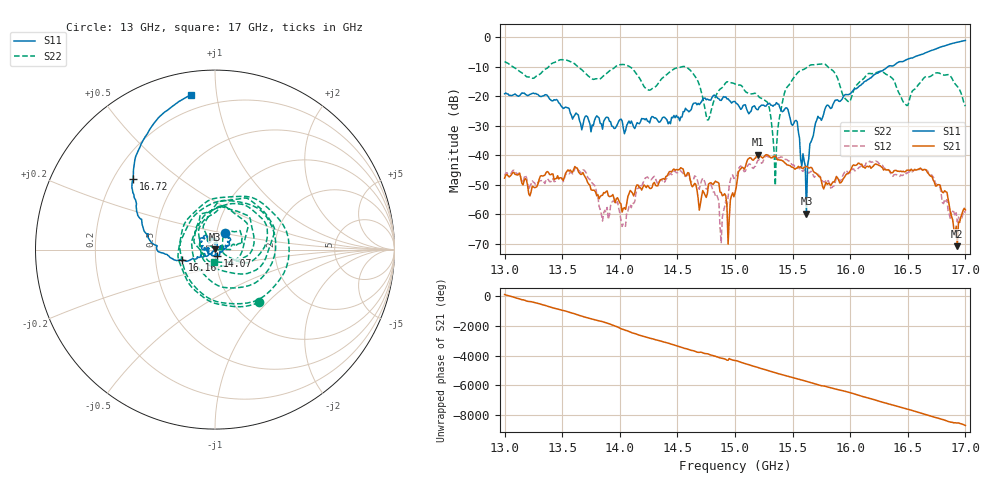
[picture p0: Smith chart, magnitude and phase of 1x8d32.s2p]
!Keysight Technologies,P9374A,MY57211807,A.19.30.04
!Date: Friday, May 08, 2026 15:19:32
!Correction: S11(C  2-Port  )
!S21(C  2-Port  )
!S12(C  2-Port  )
!S22(C  2-Port  )
!S2P File: Measurements: S11, S21, S12, S22:
# Hz S  dB  R 50
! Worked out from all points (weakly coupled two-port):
!   401 points, 13 GHz to 17 GHz, reference 50 ohm
!   highest |S21| = -39.77 dB at 15.2 GHz (marker M1); lowest = -70.7 dB at 16.93 GHz (marker M2)
!   lowest |S11| = -59.8 dB at 15.62 GHz (marker M3), VSWR 1.00, Z = 50 + j0.0998 ohm
!   |S11| at or under -10 dB: start of sweep to 16.33 GHz
!   |S22| runs from -50.2 to -7.7 dB; largest |S21 - S12| = 0.0028
!   S11 on the Smith chart (normalised r, x): 13 GHz: 1.10, +0.21; 14.07 GHz: 1.02, -0.07; 16.16 GHz: 0.68, -0.08; 16.72 GHz: 0.28, +0.35; 17 GHz: 0.12, +0.85
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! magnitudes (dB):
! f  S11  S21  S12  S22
! 13 GHz  -19.2  -47.7  -46.8  -8.3
! 13.67 GHz  -31.4  -46.4  -45.7  -11.1
! 13.84 GHz  -29.4  -53.6  -59.9  -13.8
! 14.07 GHz  -29.1  -54.0  -58.9  -9.7
! 14.34 GHz  -28.9  -49.2  -49.2  -15.3
! 14.59 GHz  -24.9  -45.9  -46.4  -10.5
! 14.77 GHz  -21.2  -49.7  -50.4  -28.0
! 14.89 GHz  -20.8  -53.7  -61.0  -17.1
! 15 GHz  -21.8  -52.7  -47.5  -15.9
! 15.2 GHz  -24.6  -39.8  -41.6  -19.9
! 15.29 GHz  -22.6  -40.0  -40.6  -22.8
! 15.35 GHz  -22.9  -40.2  -40.0  -50.2
! 15.44 GHz  -24.0  -42.8  -41.4  -17.8
! 15.62 GHz  -59.8  -43.7  -45.3  -10.4
! 15.67 GHz  -34.5  -44.4  -45.6  -9.4
! 15.98 GHz  -19.5  -46.3  -45.9  -21.8
! 16.16 GHz  -14.3  -43.9  -42.4  -12.3
! 16.34 GHz  -9.8  -45.1  -45.3  -13.2
! 16.49 GHz  -7.6  -45.1  -46.0  -23.2
! 16.72 GHz  -4.4  -48.3  -47.4  -12.7
! 16.93 GHz  -1.8  -70.7  -62.5  -16.7
! 17 GHz  -1.2  -58.5  -59.5  -23.4
